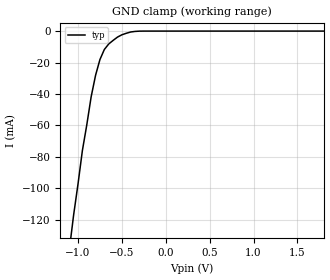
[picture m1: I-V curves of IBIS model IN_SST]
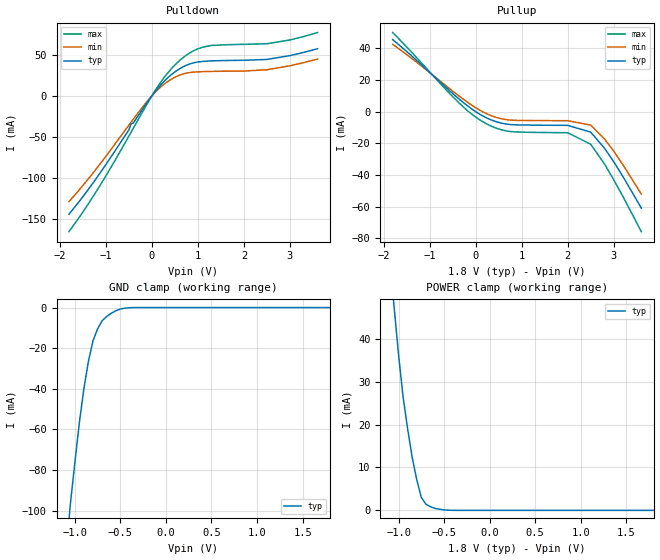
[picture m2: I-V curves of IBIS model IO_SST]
[IBIS Ver]   2.1
| SST39WF800A 48-ball TFBGA 8M Concurrent flash VCC 1.65->1.95v
[File name]   39wf800a.ibs
[File Rev]   1.0
[Date]   Wed Jan 10 13:21:42 PST 2007
[Source]   Spice for driver outputs, measured for protection devices
[Notes]   none
[Disclaimer]   This information is for modeling purposes only, and is not
   guaranteed and will vary by component
[Copyright]   Copyright SST Jan 2007 all rights reserved
[Component]   SST39WF800A-xx-xx-B3Kx | 48-ball TFBGA device
[Manufacturer]  Silicon Storage Technology, SST
[Package]
| variable   typ   min   max
R_pkg   182.6m  155.9m  209.2m
L_pkg   3.1nH   2.18nH  4.01nH
C_pkg   0.51pF  0.27pF  0.74pF
[Pin]   signal_name  model_name
A1   A3   IN_SST
A2   A7   IN_SST
A3   NC   IN_SST
A4   WE#   IN_SST
A5   A9   IN_SST
A6   A13   IN_SST
B1   A4   IN_SST
B2   A17   IN_SST
B3   NC   NC
B4   NC   NC
B5   A8   IN_SST
B6   A12   IN_SST
C1   A2   IN_SST
C2   A6   IN_SST
C3   A18   IN_SST
C4   NC   NC
C5   A10   IN_SST
C6   A14   IN_SST
D1   A1   IN_SST
D2   A5   IN_SST
D3   NC   NC
D4   NC   NC
D5   A11   IN_SST
D6   A15   IN_SST
E1   A0   IN_SST
E2   DQ0   IO_SST
E3   DQ2   IO_SST
E4   DQ5   IO_SST
E5   DQ7   IO_SST
E6   A16   IN_SST
F1   CE#   IN_SST
F2   DQ8   IO_SST
F3   DQ10   IO_SST
F4   DQ12   IO_SST
F5   DQ14   IO_SST
F6   NC   NC
G1   OE#   IN_SST
G2   DQ9   IO_SST
G3   DQ11   IO_SST
G4   VDD   POWER
G5   DQ13   IO_SST
G6   DQ15   IO_SST
H1   GND   GND
H2   DQ1   IO_SST
H3   DQ3   IO_SST
H4   DQ4   IO_SST
H5   DQ6   IO_SST
H6   GND   GND
| Models and submodels in the file (2): IN_SST (Input), IO_SST (I/O)
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| standard input with p & n diodes
[Model] IN_SST
Model_type Input
Vinl = 0.8v
Vinh = 2.0v
|   typ   min   max
C_comp   2.0pF   NA   NA
|   typ   min   max
[Voltage Range]  1.80v 1.65v 1.95v
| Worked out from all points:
|   GND clamp passes 1 mA (typ) near -0.43 V on its own axis
[GND_clamp]
|voltage   I(typ)   I(min)   I(max)
-1.8V     -423.6mA   NA         NA
-1.1V     -139.6mA   NA         NA
-1.05V    -117mA     NA         NA
-950mV    -75.95mA   NA         NA
-850mV    -41.72mA   NA         NA
-800mV    -28.14mA   NA         NA
-750mV    -18.09mA   NA         NA
-700mV    -11.72mA   NA         NA
-550mV    -3.818mA   NA         NA
-400mV    -581uA     NA         NA
-300mV    -38uA      NA         NA
1.8V      0A         NA         NA
[POWER_clamp]
|voltage   I(typ)   I(min)   I(max)
-1.8V     0A         NA         NA
-1V       0A         NA         NA
-500mV    0A         NA         NA
0V        0A         NA         NA
500mV     0A         NA         NA
1V        0A         NA         NA
1.8V      0A         NA         NA
| IO_SST model
[Model] IO_SST
Model_type I/O
Vinl = 0.8v
Vinh = 2.0v
|   typ   min   max
C_comp  5.0pF   3.0pF   7.0pF
|   typ   min   max
[Temperature range]   25   -20   85
|   typ   min   max
[Voltage range]   1.80v   1.65v   1.95v
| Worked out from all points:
|   slope of the pulldown table from 0 to 0.27 V, typ, clamps not added: 15 ohm
|   slope of the pullup table from 0 to 0.27 V, typ, clamps not added: 62 ohm
|   GND clamp passes 1 mA (typ) near -0.52 V on its own axis
|   POWER clamp passes 1 mA (typ) near -0.66 V on its own axis
[Pulldown]
|   Voltage   I(typ)   I(min)   I(max)
-1.8V     -144.3mA   -128.9mA   -165.5mA
-1.1V     -91.99mA   -81.14mA   -106.9mA
-500mV    -41.46mA   -35.75mA   -49.16mA
-450mV    -34.17mA   -31.96mA   -44.19mA
-400mV    -32.89mA   -28.2mA    -39.21mA
0V        0A         0A         0A
300mV     19.68mA    15.74mA    24.84mA
650mV     34.62mA    26.26mA    45.46mA
900mV     40.25mA    29.02mA    54.88mA
1.2V      42.47mA    29.8mA     60.59mA
2.5V      44.51mA    31.93mA    63.67mA
3.6V      57.56mA    44.97mA    77.32mA
[Pullup]
|   Voltage   I(typ)   I(min)   I(max)
-1.8V     45.44mA    42.47mA    49.88mA
-400mV    8.969mA    10.76mA    6.651mA
-100mV    2.013mA    4.411mA    -1.188mA
200mV     -3.387mA   -739uA     -7.112mA
450mV     -6.379mA   -3.631mA   -10.45mA
750mV     -8.141mA   -5.323mA   -12.52mA
2V        -8.677mA   -5.736mA   -13.32mA
2.5V      -12.92mA   -8.514mA   -20.58mA
2.8V      -23.07mA   -17.24mA   -33.06mA
3V        -31.61mA   -24.94mA   -42.96mA
3.2V      -40.95mA   -33.52mA   -53.57mA
3.6V      -60.89mA   -52.1mA    -75.72mA
[GND_clamp]
|Voltage   I(typ)   I(min)  I(max)
-1.8V     -529.1mA   NA         NA
-1.1V     -124mA     NA         NA
-1.05V    -97.57mA   NA         NA
-950mV    -56.88mA   NA         NA
-900mV    -40mA      NA         NA
-850mV    -26.48mA   NA         NA
-800mV    -16.4mA    NA         NA
-750mV    -10.54mA   NA         NA
-700mV    -6.508mA   NA         NA
-600mV    -2.801mA   NA         NA
-350mV    -15uA      NA         NA
1.8V      0A         NA         NA
[POWER_clamp]
|voltage   I(typ)   I(min)  I(max)
-1.8V     387.1mA    NA         NA
-1.05V    47.85mA    NA         NA
-1V       36.39mA    NA         NA
-950mV    26.5mA     NA         NA
-900mV    19.03mA    NA         NA
-850mV    12.36mA    NA         NA
-800mV    7.157mA    NA         NA
-750mV    3.021mA    NA         NA
-700mV    1.435mA    NA         NA
-600mV    462uA      NA         NA
-400mV    10uA       NA         NA
1.8V      0A         NA         NA
[Ramp]
|  variable   typ   min   max
   dV/dt_r   0.26/0.74n   0.16/1.11n   0.45/0.35n
   dV/dt_f   0.81/7.27n   0.64/11.3n   0.99/4.84n
